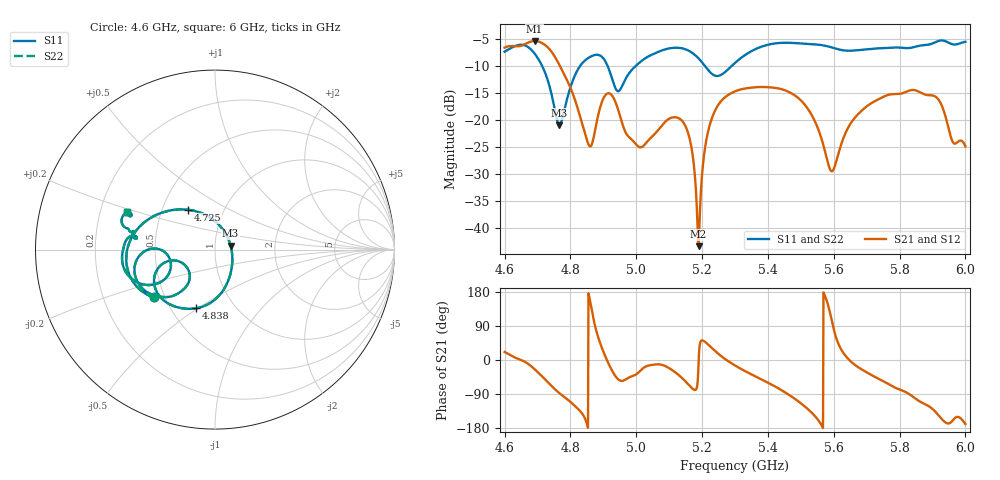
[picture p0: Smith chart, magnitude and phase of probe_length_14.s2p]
! TOUCHSTONE file generated by CST MICROWAVE STUDIO
! Date and time: Sat Nov 30 13:12:02 2024
! Project name: test_tuning.cst
! Parameters = {airCoaxOuterDiameter=3; chamferAngle=45; chamferWidth=24; connectorLength=10; drillingHoleDiameter=4.1; feedLength=60; flareDiameter=130; flareLength=70; gratingDistance=0; gratingGap=1.90274; outletLength=30; polarizerLength=134; probe1Diameter=1.3; probe1Distance=14; probe1Length=1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
! Header version: 2024
! Port assignment regex: !\s*Touchstone port\s*([0-9]+)\s*=\s*(CST MWS port|CST DES external port|CST DES block port)\s*(.+)\s* \(\"(.*)\"\)(\s*mode\s*([0-9]+))?.*
! Touchstone port assignment:
! Touchstone port 1 = CST MWS port 1 ("Input1")
! Touchstone port 2 = CST MWS port 2 ("Input2")
# GHz S MA R 50
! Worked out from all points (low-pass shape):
!   1001 points, 4.6 GHz to 6 GHz, reference 50 ohm
!   highest |S21| = -5.34 dB at 4.691 GHz (marker M1); lowest = -43.4 dB at 5.189 GHz (marker M2)
!   |S21| within 3 dB of the highest: start of sweep to 4.753 GHz
!   lowest |S11| = -20.9 dB at 4.767 GHz (marker M3), VSWR 1.20, Z = 59.5 + j2.69 ohm
!   |S11| at or under -10 dB: 4.714 GHz to 4.829 GHz (114.6 MHz wide, 2.4 % of centre); 4.913 GHz to 4.998 GHz (84.54 MHz wide, 1.71 % of centre); 5.209 GHz to 5.289 GHz (80.35 MHz wide, 1.53 % of centre)
!   |S22| runs from -20.9 to -5.2 dB; largest |S21 - S12| = 6.2e-07
!   S11 on the Smith chart (normalised r, x): 4.6 GHz: 0.44, -0.28; 4.725 GHz: 0.68, +0.32; 4.838 GHz: 0.67, -0.49; 6 GHz: 0.32, +0.19
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4.6  0.4312 -142.0  0.4695 21.2  0.4695 21.2  0.4312 -142.0
4.691  0.4145 157.1  0.541 -24.2  0.541 -24.2  0.4145 157.1
4.7246  0.2671 123.8  0.4923 -52.5  0.4923 -52.5  0.2671 123.8
4.7666  0.08978 14.5  0.3236 -87.6  0.3236 -87.6  0.08978 14.5
4.8338  0.3312 -104.1  0.09667 -139.2  0.09667 -139.2  0.3312 -104.1
4.838  0.3426 -107.6  0.08722 -144.3  0.08722 -144.3  0.3426 -107.6
4.8632  0.3902 -126.4  0.05792 139.5  0.05792 139.5  0.3902 -126.4
4.9164  0.2989 -165.1  0.1774 -10.7  0.1774 -10.7  0.2989 -165.1
4.9458  0.1853 -145.4  0.1222 -51.5  0.1222 -51.5  0.1853 -145.4
5.006  0.3332 -131.0  0.05687 -33.6  0.05687 -33.6  0.3332 -131.0
5.0676  0.43 -144.2  0.08141 -11.5  0.08141 -11.5  0.43 -144.2
5.1502  0.4527 -169.6  0.08698 -57.3  0.08698 -57.3  0.4527 -169.6
5.1698  0.4205 -175.6  0.05087 -74.9  0.05087 -74.9  0.4205 -175.6
5.1894  0.3729 -180.0  0.006765 -5.6  0.006765 -5.6  0.3729 -180.0
5.2244  0.2777 -176.7  0.09251 36.0  0.09251 36.0  0.2777 -176.7
5.3  0.3388 -149.2  0.1845 -14.4  0.1845 -14.4  0.3388 -149.2
5.5338  0.5066 177.1  0.1102 -139.6  0.1102 -139.6  0.5066 177.1
5.5954  0.4703 170.5  0.03354 98.9  0.03354 98.9  0.4703 170.5
5.6584  0.441 172.0  0.09985 -8.9  0.09985 -8.9  0.441 172.0
5.7676  0.4684 169.3  0.1719 -64.1  0.1719 -64.1  0.4684 169.3
5.909  0.5281 165.4  0.165 -136.8  0.165 -136.8  0.5281 165.4
6  0.5322 156.6  0.05699 -168.9  0.05699 -168.9  0.5322 156.6
